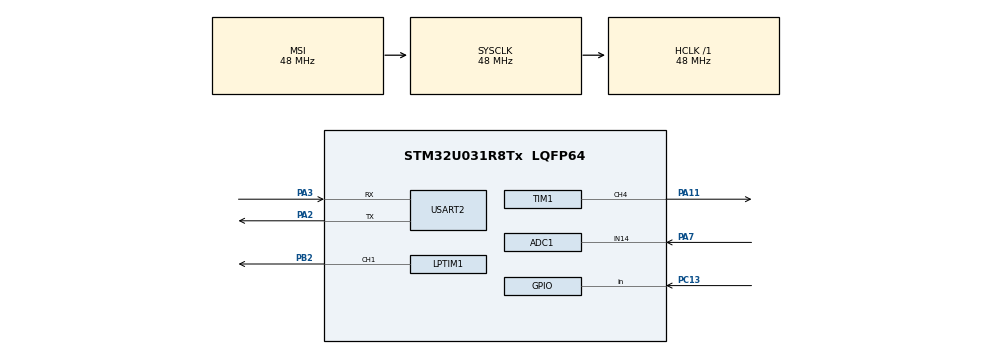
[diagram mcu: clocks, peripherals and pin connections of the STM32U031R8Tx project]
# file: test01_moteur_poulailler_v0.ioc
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ADC1.Channel-1\#ChannelRegularConversion=ADC_CHANNEL_14
ADC1.NbrOfConversionFlag=1
ADC1.Rank-1\#ChannelRegularConversion=1
ADC1.RankArg-1\#ChannelRegularConversion=ADC_REGULAR_RANK_1
ADC1.SamplingTime-1\#ChannelRegularConversion=ADC_SAMPLINGTIME_COMMON_1
ADC1.SamplingTimeCommon1=ADC_SAMPLETIME_160CYCLES_5
ADC1.SamplingTimeCommon2=ADC_SAMPLETIME_160CYCLES_5
ADC1.SelectedChannel=ADC_CHANNEL_14
ADC1.master=1
LPTIM1.ClockPrescaler=LPTIM_PRESCALER_DIV64
LPTIM1.OCPolarity_1=LPTIM_OCPOLARITY_LOW
LPTIM1.Period=999
LPTIM1.RepetitionCounter=0
LPTIM1.UpdateMode=LPTIM_UPDATE_IMMEDIATE
Mcu.Family=STM32U0
Mcu.Name=STM32U031R8Tx
Mcu.Package=LQFP64
NUCLEO-U031R8.BUTTON=1
NUCLEO-U031R8.LD4=false
NUCLEO-U031R8.VCP=false
NVIC.EXTI4_15_IRQn=true\:0\:0\:false\:false\:true\:false\:true\:true
NVIC.PriorityGroup=NVIC_PRIORITYGROUP_2
PA11\ [PA9].Signal=S_TIM1_CH4
PA13\ (SWDIO).GPIO_Label=SWDIO
PA13\ (SWDIO).Signal=DEBUG_JTMS-SWDIO
PA14\ (SWCLK).GPIO_Label=SWCLK
PA14\ (SWCLK).Signal=DEBUG_JTCK-SWCLK
PA2.Mode=Asynchronous
PA2.Signal=USART2_TX
PA3.Mode=Asynchronous
PA3.Signal=USART2_RX
PA7.Mode=IN14
PA7.Signal=ADC1_IN14
PB2.Signal=S_LPTIM1_CH1
PB8.GPIO_Label=I2C1_SCL
PB8.Signal=I2C1_SCL
PB9.GPIO_Label=I2C1_SDA
PB9.Signal=I2C1_SDA
PC13.Signal=GPIO_Input
PC14-OSC32_IN.GPIO_Label=OSC32_IN
PC14-OSC32_IN.Signal=RCC_OSC32_IN
PC15-OSC32_OUT.GPIO_Label=OSC32_OUT
PC15-OSC32_OUT.Signal=RCC_OSC32_OUT
PF0-OSC_IN.GPIO_Label=OSC_IN
PF0-OSC_IN.Signal=RCC_OSC_IN
PF1-OSC_OUT.GPIO_Label=OSC_OUT
PF1-OSC_OUT.Signal=RCC_OSC_OUT
ProjectManager.HeapSize=0x200
ProjectManager.StackSize=0x400
ProjectManager.TargetToolchain=STM32CubeIDE
RCC.ADCFreq_Value=48000000
RCC.AHBFreq_Value=48000000
RCC.APB1TimCLKDivider=1
RCC.CortexFreq_Value=48000000
RCC.HCLKFreq_Value=48000000
RCC.HSE_VALUE=4000000
RCC.HSI48_VALUE=48000000
RCC.HSI_VALUE=16000000
RCC.LSE_VALUE=32768
RCC.MSIClockRangeVal=RCC_MSIRANGE_11
RCC.MSI_VALUE=48000000
RCC.SYSCLKFreq_VALUE=48000000
RCC.SYSCLKSource=RCC_SYSCLKSOURCE_MSI
RCC.VCOOutputFreq_Value=64000000
SH.S_LPTIM1_CH1.0=LPTIM1_CH1,OutputIO_CH1
SH.S_TIM1_CH4.0=TIM1_CH4,PWM Generation4 CH4
TIM1.Channel-PWM\ Generation4\ CH4=TIM_CHANNEL_4
TIM1.Period=999
TIM1.Prescaler=63
USART2.VirtualMode-Asynchronous=VM_ASYNC
VP_LPTIM1_VS_CH1.Mode=Channel_1_Active
VP_LPTIM1_VS_LPTIM_counterModeInternalClock.Mode=Counts__internal_clock_event_00
VP_NUCLEO-U031R8_VS_BSP_COMMON.Mode=COMMON
VP_PWR_VS_SECSignals.Mode=Security/Privilege
board=NUCLEO-U031R8

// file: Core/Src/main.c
/* USER CODE BEGIN Header */
/**
******************************************************************************
* @file           : main.c
* @brief          : Main program body
******************************************************************************
* @attention
*
* Copyright (c) 2026 STMicroelectronics.
* All rights reserved.
*
* This software is licensed under terms that can be found in the LICENSE file
* in the root directory of this software component.
* If no LICENSE file comes with this software, it is provided AS-IS.
*
******************************************************************************
*/
/* USER CODE END Header */
#include "main.h"
ADC_HandleTypeDef hadc1;
LPTIM_HandleTypeDef hlptim1;
TIM_HandleTypeDef htim1;
UART_HandleTypeDef huart2;
/* USER CODE BEGIN PV */
uint16_t current_speed = 900; // On fixe une vitesse par défaut pour les tests
uint8_t rx_data;              // Variable pour stocker le caractère reçu
char msg[100];
// lecture courant moteur
uint32_t adc_value = 0;
float courant_moteur = 0.0;
uint32_t last_tick = 0; // Pour l'envoi périodique
// moyenne courant moteur
float lecture[5] = {0.0f, 0.0f, 0.0f, 0.0f, 0.0f};
float somme_courant = 0.0f;
float moyenne_courant = 0.0f;
// sécurité courant
float courant_fonctionnement_morteur = 0.0f; // courant de fonctionnement normal du moteur
float threshold = 0.9f; // limite définie
int compteur_securite = 0;       // Arret du moteur après 5 relevé > threshold
uint32_t motor_start_time = 0;
typedef enum {
	MOTEUR_OFF,
	DEMARRAGE_MOTEUR,
	CALIBRATION_MOTEUR,
   MOTEUR_MARCHE,
} MotorState_t;
MotorState_t motor_state = MOTEUR_OFF;
uint32_t elapsed = 0; // On la met ici pour qu'elle soit accessible partout
/* USER CODE END PV */
void SystemClock_Config(void);
static void MX_GPIO_Init(void);
static void MX_TIM1_Init(void);
static void MX_LPTIM1_Init(void);
static void MX_ADC1_Init(void);
static void MX_USART2_UART_Init(void);
/* USER CODE BEGIN PFP */
//test
/* USER CODE END PFP */
/* USER CODE BEGIN 0 */
void Motor_Forward(void)
{
// ARRÊT des PWM
  HAL_LPTIM_PWM_Stop(&hlptim1, LPTIM_CHANNEL_1);
  HAL_TIM_PWM_Stop(&htim1, TIM_CHANNEL_4);
// PINS A ZERO
  HAL_GPIO_WritePin(GPIOB, GPIO_PIN_2, GPIO_PIN_RESET);
  HAL_GPIO_WritePin(GPIOA, GPIO_PIN_11, GPIO_PIN_RESET);
  HAL_Delay(5);
// Lancement de TIM1 + set de la vitesse
  __HAL_TIM_SET_COMPARE(&htim1, TIM_CHANNEL_4, current_speed);
  HAL_TIM_PWM_Start(&htim1, TIM_CHANNEL_4);
// Timer démarage moteur +  security_counter
  motor_start_time = HAL_GetTick();
  motor_state = DEMARRAGE_MOTEUR;
  compteur_securite = 0;
  elapsed = 0;
}
void Motor_Reverse(void)
{
// ARRÊT des PWM
  HAL_TIM_PWM_Stop(&htim1, TIM_CHANNEL_4);
  HAL_LPTIM_PWM_Stop(&hlptim1, LPTIM_CHANNEL_1);
// PINS A ZERO
  HAL_GPIO_WritePin(GPIOA, GPIO_PIN_11, GPIO_PIN_RESET);
  HAL_GPIO_WritePin(GPIOB, GPIO_PIN_2, GPIO_PIN_RESET);
  HAL_Delay(5);
// Lancement de LPTIM1 + set de la vitesse
  HAL_LPTIM_PWM_Start(&hlptim1, LPTIM_CHANNEL_1);
  __HAL_LPTIM_COMPARE_SET(&hlptim1, LPTIM_CHANNEL_1, current_speed);
// Timer démarage moteur +  security_counter
  motor_start_time = HAL_GetTick();
  motor_state = DEMARRAGE_MOTEUR;
  compteur_securite = 0;
}
void Motor_Stop(void)
{
// ARRÊT des PWM
  HAL_TIM_PWM_Stop(&htim1, TIM_CHANNEL_4);
  HAL_LPTIM_PWM_Stop(&hlptim1, LPTIM_CHANNEL_1);
// PINS A ZERO
  HAL_GPIO_WritePin(GPIOA, GPIO_PIN_11, GPIO_PIN_RESET);
  HAL_GPIO_WritePin(GPIOB, GPIO_PIN_2, GPIO_PIN_RESET);
  motor_state = MOTEUR_OFF;
  threshold = 1.0f; // Reset du seuil
}
void Motor_SetSpeed(uint16_t speed)
{
  if (speed > 999) speed = 999;
  if (speed > 0 && speed < 700) speed = 700;
  current_speed = speed;
  // Mise à jour immédiate des registres pour les deux timers
  __HAL_TIM_SET_COMPARE(&htim1, TIM_CHANNEL_4, current_speed);
  __HAL_LPTIM_COMPARE_SET(&hlptim1, LPTIM_CHANNEL_1, current_speed);
}
// Lecture courant moteur
float Get_Motor_Current(void)
{
  uint32_t raw_value = 0;
  float res_ohm = 1.3f;
  float offset = 0.090f;
   HAL_ADC_Start(&hadc1);
  if (HAL_ADC_PollForConversion(&hadc1, 100) == HAL_OK) {
      adc_value = HAL_ADC_GetValue(&hadc1);
      // Formule : Courant = Tension / Résistance
      // Tension = (Valeur_ADC / 4095) * 3.3V
      courant_moteur = (((adc_value * 3.3f) / 4095.0f) / res_ohm)*1.103;
      courant_moteur -= offset;
       // On évite d'afficher des valeurs négatives
       if (courant_moteur < 0) courant_moteur = 0;
  }
  HAL_ADC_Stop(&hadc1);
  return courant_moteur;
}
float Update_Moving_Average(float new_sample)
{
   // 1. Décalage des valeurs (Shift)
	lecture[0] = lecture[1];
	lecture[1] = lecture[2];
	lecture[2] = lecture[3];
	lecture[3] = lecture[4];
	lecture[4] = new_sample;
   // 2. Calcul de la somme
   somme_courant = 0;
   for(int i = 0; i < 5; i++) {
   	somme_courant += lecture[i];
   }
   // 3. Retourne la moyenne
   return somme_courant / 5.0f;
}
/* USER CODE END 0 */
int main(void)
{
 /* USER CODE BEGIN 1 */
	HAL_Delay(2000);
 /* USER CODE END 1 */
 /* MCU Configuration--------------------------------------------------------*/
 /* Reset of all peripherals, Initializes the Flash interface and the Systick. */
 HAL_Init();
 /* Configure the system clock */
 SystemClock_Config();
 /* Initialize all configured peripherals */
 MX_GPIO_Init();
 MX_TIM1_Init();
 MX_LPTIM1_Init();
 MX_ADC1_Init();
 MX_USART2_UART_Init();
 /* USER CODE BEGIN 2 */
HAL_TIM_PWM_Start(&htim1, TIM_CHANNEL_4); // Changé de CHANNEL_1 à CHANNEL_4
__HAL_TIM_MOE_ENABLE(&htim1);
if (HAL_LPTIM_PWM_Start(&hlptim1, LPTIM_CHANNEL_1) != HAL_OK)
{
    Error_Handler();
}
 /* USER CODE END 2 */
 /* Initialize USER push-button, will be used to trigger an interrupt each time it's pressed.*/
 BSP_PB_Init(BUTTON_USER, BUTTON_MODE_EXTI);
 HAL_UART_Receive_IT(&huart2, &rx_data, 1);
 /* Infinite loop */
 /* USER CODE BEGIN WHILE */
 while (1)
   {
       if (motor_state == MOTEUR_OFF)
       {
           // --- MODE SOMMEIL ---
           HAL_UART_Transmit(&huart2, (uint8_t*)"Zzz...\r\n", 8, 100);
           // On nettoie les erreurs UART avant de dormir
           __HAL_UART_CLEAR_IT(&huart2, UART_CLEAR_OREF | UART_CLEAR_NEF | UART_CLEAR_FEF);
           HAL_UART_Receive_IT(&huart2, &rx_data, 1);
           HAL_SuspendTick();
           HAL_PWR_EnterSTOPMode(PWR_LOWPOWERREGULATOR_ON, PWR_STOPENTRY_WFI);
           // --- RÉVEIL ---
           SystemClock_Config();
           HAL_ResumeTick();
           HAL_UART_Transmit(&huart2, (uint8_t*)"WAKEUP!\r\n", 9, 100);
           HAL_Delay(100);
       }
       else
       {
           // --- MOTEUR EN MARCHE ---
           uint32_t current_time = HAL_GetTick();
           if (current_time - last_tick >= 500)
           {
               last_tick = current_time;
               elapsed = current_time - motor_start_time;
               float instant_current = Get_Motor_Current();
               moyenne_courant = Update_Moving_Average(instant_current);
               // Machine à états
               if (motor_state == DEMARRAGE_MOTEUR && elapsed > 2000) {
                   motor_state = CALIBRATION_MOTEUR;
               }
               else if (motor_state == CALIBRATION_MOTEUR && elapsed > 3000) {
                   courant_fonctionnement_morteur = moyenne_courant;
                   threshold = (courant_fonctionnement_morteur < 0.05f) ? 0.1f : courant_fonctionnement_morteur * 1.5f;
                   motor_state = MOTEUR_MARCHE;
               }
               else if (motor_state == MOTEUR_MARCHE) {
                   if (moyenne_courant > threshold) {
                       compteur_securite++;
                       if (compteur_securite >= 5) Motor_Stop();
                   } else {
                       compteur_securite = 0;
                   }
                   if (elapsed > 20000) Motor_Stop();
               }
               // Affichage unique et propre
               int len = sprintf(msg, "I:%.2fA | Thr:%.2fA | Stat:%d | T:%lu s\r\n",
                                moyenne_courant, threshold, (int)motor_state, elapsed/1000);
               HAL_UART_Transmit(&huart2, (uint8_t*)msg, len, 100);
           }
       }
   }
   /* USER CODE END WHILE */
}
void SystemClock_Config(void)
{
 RCC_OscInitTypeDef RCC_OscInitStruct = {0};
 RCC_ClkInitTypeDef RCC_ClkInitStruct = {0};
 /** Configure the main internal regulator output voltage
 */
 HAL_PWREx_ControlVoltageScaling(PWR_REGULATOR_VOLTAGE_SCALE1);
 /** Initializes the RCC Oscillators according to the specified parameters
 * in the RCC_OscInitTypeDef structure.
 */
 RCC_OscInitStruct.OscillatorType = RCC_OSCILLATORTYPE_MSI;
 RCC_OscInitStruct.MSIState = RCC_MSI_ON;
 RCC_OscInitStruct.MSICalibrationValue = RCC_MSICALIBRATION_DEFAULT;
 RCC_OscInitStruct.MSIClockRange = RCC_MSIRANGE_11;
 RCC_OscInitStruct.PLL.PLLState = RCC_PLL_NONE;
 if (HAL_RCC_OscConfig(&RCC_OscInitStruct) != HAL_OK)
 {
   Error_Handler();
 }
 /** Initializes the CPU, AHB and APB buses clocks
 */
 RCC_ClkInitStruct.ClockType = RCC_CLOCKTYPE_HCLK|RCC_CLOCKTYPE_SYSCLK
                             |RCC_CLOCKTYPE_PCLK1;
 RCC_ClkInitStruct.SYSCLKSource = RCC_SYSCLKSOURCE_MSI;
 RCC_ClkInitStruct.AHBCLKDivider = RCC_SYSCLK_DIV1;
 RCC_ClkInitStruct.APB1CLKDivider = RCC_HCLK_DIV1;
 if (HAL_RCC_ClockConfig(&RCC_ClkInitStruct, FLASH_LATENCY_1) != HAL_OK)
 {
   Error_Handler();
 }
}
static void MX_ADC1_Init(void)
{
 ADC_ChannelConfTypeDef sConfig = {0};
 /** Configure the global features of the ADC (Clock, Resolution, Data Alignment and number of conversion)
 */
 hadc1.Instance = ADC1;
 hadc1.Init.ClockPrescaler = ADC_CLOCK_SYNC_PCLK_DIV1;
 hadc1.Init.Resolution = ADC_RESOLUTION_12B;
 hadc1.Init.DataAlign = ADC_DATAALIGN_RIGHT;
 hadc1.Init.ScanConvMode = ADC_SCAN_DISABLE;
 hadc1.Init.EOCSelection = ADC_EOC_SINGLE_CONV;
 hadc1.Init.LowPowerAutoWait = DISABLE;
 hadc1.Init.LowPowerAutoPowerOff = DISABLE;
 hadc1.Init.ContinuousConvMode = DISABLE;
 hadc1.Init.NbrOfConversion = 1;
 hadc1.Init.DiscontinuousConvMode = DISABLE;
 hadc1.Init.ExternalTrigConv = ADC_SOFTWARE_START;
 hadc1.Init.ExternalTrigConvEdge = ADC_EXTERNALTRIGCONVEDGE_NONE;
 hadc1.Init.DMAContinuousRequests = DISABLE;
 hadc1.Init.Overrun = ADC_OVR_DATA_PRESERVED;
 hadc1.Init.SamplingTimeCommon1 = ADC_SAMPLETIME_160CYCLES_5;
 hadc1.Init.SamplingTimeCommon2 = ADC_SAMPLETIME_160CYCLES_5;
 hadc1.Init.OversamplingMode = DISABLE;
 hadc1.Init.TriggerFrequencyMode = ADC_TRIGGER_FREQ_HIGH;
 if (HAL_ADC_Init(&hadc1) != HAL_OK)
 {
   Error_Handler();
 }
 /** Configure Regular Channel
 */
 sConfig.Channel = ADC_CHANNEL_14;
 sConfig.Rank = ADC_REGULAR_RANK_1;
 sConfig.SamplingTime = ADC_SAMPLINGTIME_COMMON_1;
 if (HAL_ADC_ConfigChannel(&hadc1, &sConfig) != HAL_OK)
 {
   Error_Handler();
 }
}
static void MX_LPTIM1_Init(void)
{
 LPTIM_OC_ConfigTypeDef sConfig1 = {0};
 hlptim1.Instance = LPTIM1;
 hlptim1.Init.Clock.Source = LPTIM_CLOCKSOURCE_APBCLOCK_LPOSC;
 hlptim1.Init.Clock.Prescaler = LPTIM_PRESCALER_DIV64;
 hlptim1.Init.Trigger.Source = LPTIM_TRIGSOURCE_SOFTWARE;
 hlptim1.Init.Period = 999;
 hlptim1.Init.UpdateMode = LPTIM_UPDATE_IMMEDIATE;
 hlptim1.Init.CounterSource = LPTIM_COUNTERSOURCE_INTERNAL;
 hlptim1.Init.Input1Source = LPTIM_INPUT1SOURCE_GPIO;
 hlptim1.Init.Input2Source = LPTIM_INPUT2SOURCE_GPIO;
 hlptim1.Init.RepetitionCounter = 0;
 if (HAL_LPTIM_Init(&hlptim1) != HAL_OK)
 {
   Error_Handler();
 }
 sConfig1.Pulse = 0;
 sConfig1.OCPolarity = LPTIM_OCPOLARITY_LOW;
 if (HAL_LPTIM_OC_ConfigChannel(&hlptim1, &sConfig1, LPTIM_CHANNEL_1) != HAL_OK)
 {
   Error_Handler();
 }
 HAL_LPTIM_MspPostInit(&hlptim1);
}
static void MX_TIM1_Init(void)
{
 TIM_MasterConfigTypeDef sMasterConfig = {0};
 TIM_OC_InitTypeDef sConfigOC = {0};
 TIM_BreakDeadTimeConfigTypeDef sBreakDeadTimeConfig = {0};
 htim1.Instance = TIM1;
 htim1.Init.Prescaler = 63;
 htim1.Init.CounterMode = TIM_COUNTERMODE_UP;
 htim1.Init.Period = 999;
 htim1.Init.ClockDivision = TIM_CLOCKDIVISION_DIV1;
 htim1.Init.RepetitionCounter = 0;
 htim1.Init.AutoReloadPreload = TIM_AUTORELOAD_PRELOAD_DISABLE;
 if (HAL_TIM_PWM_Init(&htim1) != HAL_OK)
 {
   Error_Handler();
 }
 sMasterConfig.MasterOutputTrigger = TIM_TRGO_RESET;
 sMasterConfig.MasterOutputTrigger2 = TIM_TRGO2_RESET;
 sMasterConfig.MasterSlaveMode = TIM_MASTERSLAVEMODE_DISABLE;
 if (HAL_TIMEx_MasterConfigSynchronization(&htim1, &sMasterConfig) != HAL_OK)
 {
   Error_Handler();
 }
 sConfigOC.OCMode = TIM_OCMODE_PWM1;
 sConfigOC.Pulse = 0;
 sConfigOC.OCPolarity = TIM_OCPOLARITY_HIGH;
 sConfigOC.OCFastMode = TIM_OCFAST_DISABLE;
 sConfigOC.OCIdleState = TIM_OCIDLESTATE_RESET;
 sConfigOC.OCNIdleState = TIM_OCNIDLESTATE_RESET;
 if (HAL_TIM_PWM_ConfigChannel(&htim1, &sConfigOC, TIM_CHANNEL_4) != HAL_OK)
 {
   Error_Handler();
 }
 sBreakDeadTimeConfig.OffStateRunMode = TIM_OSSR_DISABLE;
 sBreakDeadTimeConfig.OffStateIDLEMode = TIM_OSSI_DISABLE;
 sBreakDeadTimeConfig.LockLevel = TIM_LOCKLEVEL_OFF;
 sBreakDeadTimeConfig.DeadTime = 0;
 sBreakDeadTimeConfig.BreakState = TIM_BREAK_DISABLE;
 sBreakDeadTimeConfig.BreakPolarity = TIM_BREAKPOLARITY_HIGH;
 sBreakDeadTimeConfig.BreakFilter = 0;
 sBreakDeadTimeConfig.BreakAFMode = TIM_BREAK_AFMODE_INPUT;
 sBreakDeadTimeConfig.Break2State = TIM_BREAK2_DISABLE;
 sBreakDeadTimeConfig.Break2Polarity = TIM_BREAK2POLARITY_HIGH;
 sBreakDeadTimeConfig.Break2Filter = 0;
 sBreakDeadTimeConfig.Break2AFMode = TIM_BREAK_AFMODE_INPUT;
 sBreakDeadTimeConfig.AutomaticOutput = TIM_AUTOMATICOUTPUT_DISABLE;
 if (HAL_TIMEx_ConfigBreakDeadTime(&htim1, &sBreakDeadTimeConfig) != HAL_OK)
 {
   Error_Handler();
 }
 HAL_TIM_MspPostInit(&htim1);
}
static void MX_USART2_UART_Init(void)
{
 huart2.Instance = USART2;
 huart2.Init.BaudRate = 115200;
 huart2.Init.WordLength = UART_WORDLENGTH_8B;
 huart2.Init.StopBits = UART_STOPBITS_1;
 huart2.Init.Parity = UART_PARITY_NONE;
 huart2.Init.Mode = UART_MODE_TX_RX;
 huart2.Init.HwFlowCtl = UART_HWCONTROL_NONE;
 huart2.Init.OverSampling = UART_OVERSAMPLING_16;
 huart2.Init.OneBitSampling = UART_ONE_BIT_SAMPLE_DISABLE;
 huart2.Init.ClockPrescaler = UART_PRESCALER_DIV1;
 huart2.AdvancedInit.AdvFeatureInit = UART_ADVFEATURE_NO_INIT;
 if (HAL_UART_Init(&huart2) != HAL_OK)
 {
   Error_Handler();
 }
 if (HAL_UARTEx_SetTxFifoThreshold(&huart2, UART_TXFIFO_THRESHOLD_1_8) != HAL_OK)
 {
   Error_Handler();
 }
 if (HAL_UARTEx_SetRxFifoThreshold(&huart2, UART_RXFIFO_THRESHOLD_1_8) != HAL_OK)
 {
   Error_Handler();
 }
 if (HAL_UARTEx_DisableFifoMode(&huart2) != HAL_OK)
 {
   Error_Handler();
 }
}
static void MX_GPIO_Init(void)
{
 GPIO_InitTypeDef GPIO_InitStruct = {0};
 /* GPIO Ports Clock Enable */
 __HAL_RCC_GPIOC_CLK_ENABLE();
 __HAL_RCC_GPIOF_CLK_ENABLE();
 __HAL_RCC_GPIOA_CLK_ENABLE();
 __HAL_RCC_GPIOB_CLK_ENABLE();
 /*Configure GPIO pins : I2C1_SCL_Pin I2C1_SDA_Pin */
 GPIO_InitStruct.Pin = I2C1_SCL_Pin|I2C1_SDA_Pin;
 GPIO_InitStruct.Mode = GPIO_MODE_AF_OD;
 GPIO_InitStruct.Pull = GPIO_NOPULL;
 GPIO_InitStruct.Speed = GPIO_SPEED_FREQ_LOW;
 GPIO_InitStruct.Alternate = GPIO_AF4_I2C1;
 HAL_GPIO_Init(GPIOB, &GPIO_InitStruct);
}
/* USER CODE BEGIN 4 */
void HAL_UART_RxCpltCallback(UART_HandleTypeDef *huart)
{
   if (huart->Instance == USART2)
   {
       switch(rx_data)
       {
         case 'D': Motor_Forward(); break;
         case 'A': Motor_Reverse(); break;
         case 'S': Motor_Stop();    break;
         case '+': Motor_SetSpeed(current_speed + 100); break;
         case '-': Motor_SetSpeed(current_speed - 100); break;
       }
       HAL_UART_Receive_IT(&huart2, &rx_data, 1);
   }
}
/* USER CODE END 4 */
void Error_Handler(void)
{
__disable_irq();
while (1)
{
}
}
